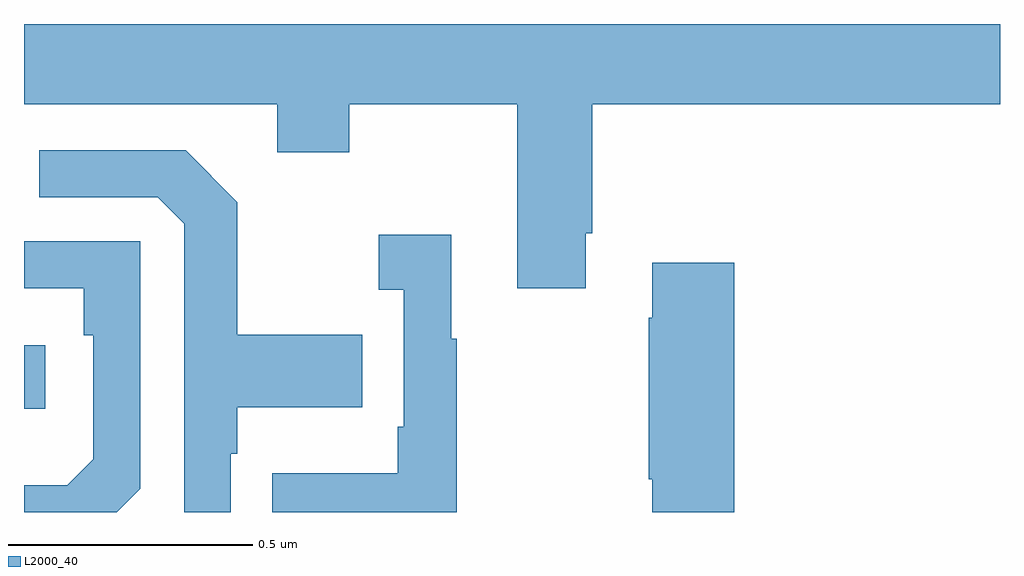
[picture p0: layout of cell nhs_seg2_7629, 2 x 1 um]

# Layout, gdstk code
import gdstk
lib = gdstk.Library(unit=1e-6, precision=1e-09)
def R(c, l, rs):  # rectangles x0, y0, x1, y1
    for r in rs: c.add(gdstk.rectangle(r[:2], r[2:], *l))
def P(c, l, *ps):  # polygons
    for p in ps: c.add(gdstk.Polygon(p, *l))
L2000_40 = (2000, 40)

nhs_seg2_7629 = lib.new_cell('nhs_seg2_7629')
R(nhs_seg2_7629, L2000_40, [(206,647.012,206.044,647.142)])
P(nhs_seg2_7629, L2000_40, [(207.151,647.371),(207.164,647.371),(207.164,647.636),(208,647.636),(208,647.8),(206,647.8),(206,647.636),(206.519,647.636),(206.519,647.537),(206.667,647.537),(206.667,647.636),(207.011,647.636),(207.011,647.259),(207.151,647.259)],
  [(206.424,646.919),(206.437,646.919),(206.437,647.015),(206.693,647.015),(206.693,647.163),(206.437,647.163),(206.437,647.435),(206.331,647.541),(206.031,647.541),(206.031,647.445),(206.274,647.445),(206.328,647.391),(206.328,646.8),(206.424,646.8)],
  [(206.887,647.155),(206.875,647.155),(206.875,647.368),(206.727,647.368),(206.727,647.255),(206.778,647.255),(206.778,646.975),(206.766,646.975),(206.766,646.879),(206.509,646.879),(206.509,646.8),(206.887,646.8)],
  [(206.238,646.848),(206.238,647.355),(206,647.355),(206,647.259),(206.122,647.259),(206.122,647.162),(206.142,647.162),(206.142,646.908),(206.089,646.855),(206,646.855),(206,646.8),(206.19,646.8)],
  [(207.455,647.311),(207.287,647.311),(207.287,647.198),(207.28,647.198),(207.28,646.867),(207.287,646.867),(207.287,646.8),(207.455,646.8)])

lib.write_gds('nhs_seg2_7629.gds')
